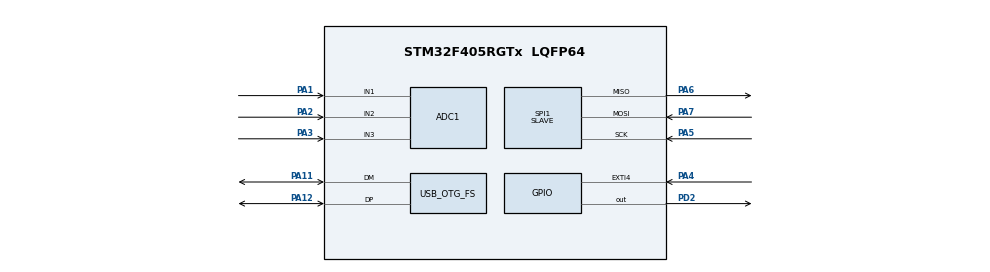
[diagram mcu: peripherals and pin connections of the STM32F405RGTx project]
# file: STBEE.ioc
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ADC1.Channel-0\#ChannelRegularConversion=ADC_CHANNEL_1
ADC1.Channel-1\#ChannelRegularConversion=ADC_CHANNEL_2
ADC1.Channel-2\#ChannelRegularConversion=ADC_CHANNEL_3
ADC1.ContinuousConvMode=ENABLE
ADC1.DMAContinuousRequests=ENABLE
ADC1.NbrOfConversion=3
ADC1.NbrOfConversionFlag=1
ADC1.Rank-0\#ChannelRegularConversion=1
ADC1.Rank-1\#ChannelRegularConversion=2
ADC1.Rank-2\#ChannelRegularConversion=3
ADC1.SamplingTime-0\#ChannelRegularConversion=ADC_SAMPLETIME_15CYCLES
ADC1.SamplingTime-1\#ChannelRegularConversion=ADC_SAMPLETIME_15CYCLES
ADC1.SamplingTime-2\#ChannelRegularConversion=ADC_SAMPLETIME_15CYCLES
ADC1.master=1
Dma.ADC1.1.Direction=DMA_PERIPH_TO_MEMORY
Dma.ADC1.1.FIFOMode=DMA_FIFOMODE_DISABLE
Dma.ADC1.1.Instance=DMA2_Stream4
Dma.ADC1.1.MemDataAlignment=DMA_MDATAALIGN_HALFWORD
Dma.ADC1.1.MemInc=DMA_MINC_ENABLE
Dma.ADC1.1.Mode=DMA_CIRCULAR
Dma.ADC1.1.PeriphDataAlignment=DMA_PDATAALIGN_HALFWORD
Dma.ADC1.1.PeriphInc=DMA_PINC_DISABLE
Dma.ADC1.1.Priority=DMA_PRIORITY_LOW
Dma.Request0=SPI1_RX
Dma.Request1=ADC1
Dma.SPI1_RX.0.Direction=DMA_PERIPH_TO_MEMORY
Dma.SPI1_RX.0.FIFOMode=DMA_FIFOMODE_DISABLE
Dma.SPI1_RX.0.Instance=DMA2_Stream0
Dma.SPI1_RX.0.MemDataAlignment=DMA_MDATAALIGN_BYTE
Dma.SPI1_RX.0.MemInc=DMA_MINC_ENABLE
Dma.SPI1_RX.0.Mode=DMA_NORMAL
Dma.SPI1_RX.0.PeriphDataAlignment=DMA_PDATAALIGN_BYTE
Dma.SPI1_RX.0.PeriphInc=DMA_PINC_DISABLE
Dma.SPI1_RX.0.Priority=DMA_PRIORITY_LOW
FREERTOS.Tasks01=defaultTask,0,128,StartDefaultTask,Default,NULL,Dynamic,NULL,NULL
Mcu.Family=STM32F4
Mcu.Name=STM32F405RGTx
Mcu.Package=LQFP64
NVIC.DMA2_Stream0_IRQn=true\:5\:0\:false\:false\:true\:true\:false\:true
NVIC.DMA2_Stream4_IRQn=true\:5\:0\:false\:false\:true\:true\:false\:true
NVIC.EXTI4_IRQn=true\:0\:0\:false\:false\:true\:false\:true\:true
NVIC.OTG_FS_IRQn=true\:5\:0\:false\:false\:true\:true\:false\:true
NVIC.PriorityGroup=NVIC_PRIORITYGROUP_4
NVIC.TIM8_UP_TIM13_IRQn=true\:0\:0\:false\:false\:true\:false\:false\:true
NVIC.TimeBase=TIM8_UP_TIM13_IRQn
NVIC.TimeBaseIP=TIM13
PA1.Signal=ADCx_IN1
PA11.Mode=Device_Only
PA11.Signal=USB_OTG_FS_DM
PA12.Mode=Device_Only
PA12.Signal=USB_OTG_FS_DP
PA2.Signal=ADCx_IN2
PA3.Signal=ADCx_IN3
PA4.Signal=GPXTI4
PA5.Mode=Full_Duplex_Slave
PA5.Signal=SPI1_SCK
PA6.Mode=Full_Duplex_Slave
PA6.Signal=SPI1_MISO
PA7.Mode=Full_Duplex_Slave
PA7.Signal=SPI1_MOSI
PD2.Signal=GPIO_Output
PH0-OSC_IN.Mode=HSE-External-Oscillator
PH0-OSC_IN.Signal=RCC_OSC_IN
PH1-OSC_OUT.Mode=HSE-External-Oscillator
PH1-OSC_OUT.Signal=RCC_OSC_OUT
ProjectManager.HeapSize=0x4000
ProjectManager.StackSize=0x4000
ProjectManager.TargetToolchain=STM32CubeIDE
RCC.48MHZClocksFreq_Value=48000000
RCC.AHBFreq_Value=168000000
RCC.APB1CLKDivider=RCC_HCLK_DIV4
RCC.APB1Freq_Value=42000000
RCC.APB1TimFreq_Value=84000000
RCC.APB2CLKDivider=RCC_HCLK_DIV2
RCC.APB2Freq_Value=84000000
RCC.APB2TimFreq_Value=168000000
RCC.CortexFreq_Value=168000000
RCC.HCLKFreq_Value=168000000
RCC.HSE_VALUE=12000000
RCC.HSI_VALUE=16000000
RCC.LSE_VALUE=32768
RCC.PLLM=6
RCC.PLLN=168
RCC.PLLQ=7
RCC.SYSCLKFreq_VALUE=168000000
RCC.SYSCLKSource=RCC_SYSCLKSOURCE_PLLCLK
RCC.VCOOutputFreq_Value=336000000
SH.ADCx_IN1.0=ADC1_IN1,IN1
SH.ADCx_IN2.0=ADC1_IN2,IN2
SH.ADCx_IN3.0=ADC1_IN3,IN3
SPI1.Direction=SPI_DIRECTION_2LINES
SPI1.Mode=SPI_MODE_SLAVE
SPI1.VirtualType=VM_SLAVE
USB_DEVICE.CLASS_NAME_FS=CDC
USB_DEVICE.MANUFACTURER_STRING-CDC_FS=motionlib
USB_DEVICE.PRODUCT_STRING_CDC_FS=STM32 Hall Sensor Encoder
USB_DEVICE.VirtualMode-CDC_FS=Cdc
USB_DEVICE.VirtualModeFS=Cdc_FS
USB_OTG_FS.VirtualMode=Device_Only
VP_FREERTOS_VS_CMSIS_V1.Mode=CMSIS_V1
VP_SYS_VS_tim13.Mode=TIM13
VP_USB_DEVICE_VS_USB_DEVICE_CDC_FS.Mode=CDC_FS
board=custom

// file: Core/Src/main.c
/* USER CODE BEGIN Header */
/**
 ******************************************************************************
 * @file           : main.c
 * @brief          : Main program body
 ******************************************************************************
 * @attention
 *
 * <h2><center>&copy; Copyright (c) 2020 STMicroelectronics.
 * All rights reserved.</center></h2>
 *
 * This software component is licensed by ST under BSD 3-Clause license,
 * the "License"; You may not use this file except in compliance with the
 * License. You may obtain a copy of the License at:
 *                        opensource.org/licenses/BSD-3-Clause
 *
 ******************************************************************************
 */
/* USER CODE END Header */

#include "main.h"
#include "cmsis_os.h"
#include "usb_device.h"

/* USER CODE BEGIN Includes */
#include "usbd_cdc_if.h"
/* USER CODE END Includes */

osThreadId defaultTaskHandle;
/* USER CODE BEGIN PV */
void adc_handler(void) {
	if (LL_DMA_IsActiveFlag_TC4(DMA2)) {
		LL_DMA_ClearFlag_TC4(DMA2);
		LL_ADC_ClearFlag_EOCS(ADC1);
	}
}
/* USER CODE END PV */

void SystemClock_Config(void);
static void MX_GPIO_Init(void);
static void MX_DMA_Init(void);
static void MX_ADC1_Init(void);
static void MX_SPI1_Init(void);
void StartDefaultTask(void const *argument);

int main(void) {

	/* MCU Configuration--------------------------------------------------------*/

	/* Reset of all peripherals, Initializes the Flash interface and the Systick. */
	HAL_Init();

	/* Configure the system clock */
	SystemClock_Config();

	/* Initialize all configured peripherals */
	MX_GPIO_Init();
	MX_DMA_Init();
	MX_ADC1_Init();
	MX_SPI1_Init();

	/* Create the thread(s) */
	/* definition and creation of defaultTask */
	osThreadDef(defaultTask, StartDefaultTask, osPriorityNormal, 0, 128);
	defaultTaskHandle = osThreadCreate(osThread(defaultTask), NULL);

	/* Start scheduler */
	osKernelStart();

	/* We should never get here as control is now taken by the scheduler */

	/* Infinite loop */
	while (1) {

	}
}

void SystemClock_Config(void) {
	LL_FLASH_SetLatency(LL_FLASH_LATENCY_5);

	if (LL_FLASH_GetLatency() != LL_FLASH_LATENCY_5) {
		Error_Handler();
	}
	LL_PWR_SetRegulVoltageScaling(LL_PWR_REGU_VOLTAGE_SCALE1);
	LL_RCC_HSE_Enable();

	/* Wait till HSE is ready */
	while (LL_RCC_HSE_IsReady() != 1) {

	}
	LL_RCC_PLL_ConfigDomain_SYS(LL_RCC_PLLSOURCE_HSE, LL_RCC_PLLM_DIV_6, 168,
	LL_RCC_PLLP_DIV_2);
	LL_RCC_PLL_ConfigDomain_48M(LL_RCC_PLLSOURCE_HSE, LL_RCC_PLLM_DIV_6, 168,
	LL_RCC_PLLQ_DIV_7);
	LL_RCC_PLL_Enable();

	/* Wait till PLL is ready */
	while (LL_RCC_PLL_IsReady() != 1) {

	}
	LL_RCC_SetAHBPrescaler(LL_RCC_SYSCLK_DIV_1);
	LL_RCC_SetAPB1Prescaler(LL_RCC_APB1_DIV_4);
	LL_RCC_SetAPB2Prescaler(LL_RCC_APB2_DIV_2);
	LL_RCC_SetSysClkSource(LL_RCC_SYS_CLKSOURCE_PLL);

	/* Wait till System clock is ready */
	while (LL_RCC_GetSysClkSource() != LL_RCC_SYS_CLKSOURCE_STATUS_PLL) {

	}
	LL_SetSystemCoreClock(168000000);

	/* Update the time base */
	if (HAL_InitTick(TICK_INT_PRIORITY) != HAL_OK) {
		Error_Handler();
	};
}

static void MX_ADC1_Init(void) {

	LL_ADC_InitTypeDef ADC_InitStruct = { 0 };
	LL_ADC_REG_InitTypeDef ADC_REG_InitStruct = { 0 };
	LL_ADC_CommonInitTypeDef ADC_CommonInitStruct = { 0 };

	LL_GPIO_InitTypeDef GPIO_InitStruct = { 0 };

	/* Peripheral clock enable */
	LL_APB2_GRP1_EnableClock(LL_APB2_GRP1_PERIPH_ADC1);

	LL_AHB1_GRP1_EnableClock(LL_AHB1_GRP1_PERIPH_GPIOA);
	/**ADC1 GPIO Configuration
	 PA1   ------> ADC1_IN1
	 PA2   ------> ADC1_IN2
	 PA3   ------> ADC1_IN3
	 */
	GPIO_InitStruct.Pin = LL_GPIO_PIN_1 | LL_GPIO_PIN_2 | LL_GPIO_PIN_3;
	GPIO_InitStruct.Mode = LL_GPIO_MODE_ANALOG;
	GPIO_InitStruct.Pull = LL_GPIO_PULL_NO;
	LL_GPIO_Init(GPIOA, &GPIO_InitStruct);

	/* ADC1 DMA Init */

	/* ADC1 Init */
	LL_DMA_SetChannelSelection(DMA2, LL_DMA_STREAM_4, LL_DMA_CHANNEL_0);

	LL_DMA_SetDataTransferDirection(DMA2, LL_DMA_STREAM_4,
	LL_DMA_DIRECTION_PERIPH_TO_MEMORY);

	LL_DMA_SetStreamPriorityLevel(DMA2, LL_DMA_STREAM_4, LL_DMA_PRIORITY_LOW);

	LL_DMA_SetMode(DMA2, LL_DMA_STREAM_4, LL_DMA_MODE_CIRCULAR);

	LL_DMA_SetPeriphIncMode(DMA2, LL_DMA_STREAM_4, LL_DMA_PERIPH_NOINCREMENT);

	LL_DMA_SetMemoryIncMode(DMA2, LL_DMA_STREAM_4, LL_DMA_MEMORY_INCREMENT);

	LL_DMA_SetPeriphSize(DMA2, LL_DMA_STREAM_4, LL_DMA_PDATAALIGN_HALFWORD);

	LL_DMA_SetMemorySize(DMA2, LL_DMA_STREAM_4, LL_DMA_MDATAALIGN_HALFWORD);

	LL_DMA_DisableFifoMode(DMA2, LL_DMA_STREAM_4);

	/** Common config
	 */
	ADC_InitStruct.Resolution = LL_ADC_RESOLUTION_12B;
	ADC_InitStruct.DataAlignment = LL_ADC_DATA_ALIGN_RIGHT;
	ADC_InitStruct.SequencersScanMode = LL_ADC_SEQ_SCAN_ENABLE;
	LL_ADC_Init(ADC1, &ADC_InitStruct);
	ADC_REG_InitStruct.TriggerSource = LL_ADC_REG_TRIG_SOFTWARE;
	ADC_REG_InitStruct.SequencerLength = LL_ADC_REG_SEQ_SCAN_ENABLE_3RANKS;
	ADC_REG_InitStruct.SequencerDiscont = LL_ADC_REG_SEQ_DISCONT_DISABLE;
	ADC_REG_InitStruct.ContinuousMode = LL_ADC_REG_CONV_CONTINUOUS;
	ADC_REG_InitStruct.DMATransfer = LL_ADC_REG_DMA_TRANSFER_UNLIMITED;
	LL_ADC_REG_Init(ADC1, &ADC_REG_InitStruct);
	LL_ADC_REG_SetFlagEndOfConversion(ADC1, LL_ADC_REG_FLAG_EOC_UNITARY_CONV);
	LL_ADC_DisableIT_EOCS(ADC1);
	ADC_CommonInitStruct.CommonClock = LL_ADC_CLOCK_SYNC_PCLK_DIV4;
	ADC_CommonInitStruct.Multimode = LL_ADC_MULTI_INDEPENDENT;
	LL_ADC_CommonInit(__LL_ADC_COMMON_INSTANCE(ADC1), &ADC_CommonInitStruct);
	/** Configure Regular Channel
	 */
	LL_ADC_REG_SetSequencerRanks(ADC1, LL_ADC_REG_RANK_1, LL_ADC_CHANNEL_1);
	LL_ADC_SetChannelSamplingTime(ADC1, LL_ADC_CHANNEL_1,
	LL_ADC_SAMPLINGTIME_15CYCLES);
	/** Configure Regular Channel
	 */
	LL_ADC_REG_SetSequencerRanks(ADC1, LL_ADC_REG_RANK_2, LL_ADC_CHANNEL_2);
	LL_ADC_SetChannelSamplingTime(ADC1, LL_ADC_CHANNEL_2,
	LL_ADC_SAMPLINGTIME_15CYCLES);
	/** Configure Regular Channel
	 */
	LL_ADC_REG_SetSequencerRanks(ADC1, LL_ADC_REG_RANK_3, LL_ADC_CHANNEL_3);
	LL_ADC_SetChannelSamplingTime(ADC1, LL_ADC_CHANNEL_3,
	LL_ADC_SAMPLINGTIME_15CYCLES);

}

static void MX_SPI1_Init(void) {

	LL_SPI_InitTypeDef SPI_InitStruct = { 0 };

	LL_GPIO_InitTypeDef GPIO_InitStruct = { 0 };

	/* Peripheral clock enable */
	LL_APB2_GRP1_EnableClock(LL_APB2_GRP1_PERIPH_SPI1);

	LL_AHB1_GRP1_EnableClock(LL_AHB1_GRP1_PERIPH_GPIOA);
	/**SPI1 GPIO Configuration
	 PA5   ------> SPI1_SCK
	 PA6   ------> SPI1_MISO
	 PA7   ------> SPI1_MOSI
	 */
	GPIO_InitStruct.Pin = LL_GPIO_PIN_5 | LL_GPIO_PIN_6 | LL_GPIO_PIN_7;
	GPIO_InitStruct.Mode = LL_GPIO_MODE_ALTERNATE;
	GPIO_InitStruct.Speed = LL_GPIO_SPEED_FREQ_VERY_HIGH;
	GPIO_InitStruct.OutputType = LL_GPIO_OUTPUT_PUSHPULL;
	GPIO_InitStruct.Pull = LL_GPIO_PULL_NO;
	GPIO_InitStruct.Alternate = LL_GPIO_AF_5;
	LL_GPIO_Init(GPIOA, &GPIO_InitStruct);

	/* SPI1 DMA Init */

	/* SPI1_RX Init */
	LL_DMA_SetChannelSelection(DMA2, LL_DMA_STREAM_0, LL_DMA_CHANNEL_3);

	LL_DMA_SetDataTransferDirection(DMA2, LL_DMA_STREAM_0,
	LL_DMA_DIRECTION_PERIPH_TO_MEMORY);

	LL_DMA_SetStreamPriorityLevel(DMA2, LL_DMA_STREAM_0, LL_DMA_PRIORITY_LOW);

	LL_DMA_SetMode(DMA2, LL_DMA_STREAM_0, LL_DMA_MODE_NORMAL);

	LL_DMA_SetPeriphIncMode(DMA2, LL_DMA_STREAM_0, LL_DMA_PERIPH_NOINCREMENT);

	LL_DMA_SetMemoryIncMode(DMA2, LL_DMA_STREAM_0, LL_DMA_MEMORY_INCREMENT);

	LL_DMA_SetPeriphSize(DMA2, LL_DMA_STREAM_0, LL_DMA_PDATAALIGN_BYTE);

	LL_DMA_SetMemorySize(DMA2, LL_DMA_STREAM_0, LL_DMA_MDATAALIGN_BYTE);

	LL_DMA_DisableFifoMode(DMA2, LL_DMA_STREAM_0);

	/* SPI1 parameter configuration*/
	SPI_InitStruct.TransferDirection = LL_SPI_FULL_DUPLEX;
	SPI_InitStruct.Mode = LL_SPI_MODE_SLAVE;
	SPI_InitStruct.DataWidth = LL_SPI_DATAWIDTH_8BIT;
	SPI_InitStruct.ClockPolarity = LL_SPI_POLARITY_LOW;
	SPI_InitStruct.ClockPhase = LL_SPI_PHASE_1EDGE;
	SPI_InitStruct.NSS = LL_SPI_NSS_SOFT;
	SPI_InitStruct.BitOrder = LL_SPI_MSB_FIRST;
	SPI_InitStruct.CRCCalculation = LL_SPI_CRCCALCULATION_DISABLE;
	SPI_InitStruct.CRCPoly = 10;
	LL_SPI_Init(SPI1, &SPI_InitStruct);
	LL_SPI_SetStandard(SPI1, LL_SPI_PROTOCOL_MOTOROLA);

}

static void MX_DMA_Init(void) {

	/* Init with LL driver */
	/* DMA controller clock enable */
	LL_AHB1_GRP1_EnableClock(LL_AHB1_GRP1_PERIPH_DMA2);

	/* DMA interrupt init */
	/* DMA2_Stream0_IRQn interrupt configuration */
	NVIC_SetPriority(DMA2_Stream0_IRQn,
			NVIC_EncodePriority(NVIC_GetPriorityGrouping(), 5, 0));
	NVIC_EnableIRQ(DMA2_Stream0_IRQn);
	/* DMA2_Stream4_IRQn interrupt configuration */
	NVIC_SetPriority(DMA2_Stream4_IRQn,
			NVIC_EncodePriority(NVIC_GetPriorityGrouping(), 5, 0));
	NVIC_EnableIRQ(DMA2_Stream4_IRQn);

}

static void MX_GPIO_Init(void) {
	LL_EXTI_InitTypeDef EXTI_InitStruct = { 0 };
	LL_GPIO_InitTypeDef GPIO_InitStruct = { 0 };

	/* GPIO Ports Clock Enable */
	LL_AHB1_GRP1_EnableClock(LL_AHB1_GRP1_PERIPH_GPIOH);
	LL_AHB1_GRP1_EnableClock(LL_AHB1_GRP1_PERIPH_GPIOA);
	LL_AHB1_GRP1_EnableClock(LL_AHB1_GRP1_PERIPH_GPIOD);

	/**/
	LL_GPIO_ResetOutputPin(GPIOD, LL_GPIO_PIN_2);

	/**/
	LL_SYSCFG_SetEXTISource(LL_SYSCFG_EXTI_PORTA, LL_SYSCFG_EXTI_LINE4);

	/**/
	EXTI_InitStruct.Line_0_31 = LL_EXTI_LINE_4;
	EXTI_InitStruct.LineCommand = ENABLE;
	EXTI_InitStruct.Mode = LL_EXTI_MODE_IT;
	EXTI_InitStruct.Trigger = LL_EXTI_TRIGGER_RISING;
	LL_EXTI_Init(&EXTI_InitStruct);

	/**/
	LL_GPIO_SetPinPull(GPIOA, LL_GPIO_PIN_4, LL_GPIO_PULL_NO);

	/**/
	LL_GPIO_SetPinMode(GPIOA, LL_GPIO_PIN_4, LL_GPIO_MODE_INPUT);

	/**/
	GPIO_InitStruct.Pin = LL_GPIO_PIN_2;
	GPIO_InitStruct.Mode = LL_GPIO_MODE_OUTPUT;
	GPIO_InitStruct.Speed = LL_GPIO_SPEED_FREQ_LOW;
	GPIO_InitStruct.OutputType = LL_GPIO_OUTPUT_PUSHPULL;
	GPIO_InitStruct.Pull = LL_GPIO_PULL_NO;
	LL_GPIO_Init(GPIOD, &GPIO_InitStruct);

	/* EXTI interrupt init*/
	NVIC_SetPriority(EXTI4_IRQn,
			NVIC_EncodePriority(NVIC_GetPriorityGrouping(), 0, 0));
	NVIC_EnableIRQ(EXTI4_IRQn);

}

void StartDefaultTask(void const *argument) {
	/* init code for USB_DEVICE */
	MX_USB_DEVICE_Init();
	/* USER CODE BEGIN 5 */
	char buf[32] = { 0 };
	uint16_t data[3] = { 0 };
	LL_DMA_DisableStream(DMA2, LL_DMA_STREAM_4);
	LL_DMA_ConfigAddresses(DMA2, LL_DMA_STREAM_4,
			LL_ADC_DMA_GetRegAddr(ADC1, LL_ADC_DMA_REG_REGULAR_DATA),
			(uint32_t) data, LL_DMA_DIRECTION_PERIPH_TO_MEMORY);
	LL_DMA_SetDataLength(DMA2, LL_DMA_STREAM_4, sizeof(data) / sizeof(data[0]));
	LL_DMA_EnableStream(DMA2, LL_DMA_STREAM_4);
	LL_ADC_REG_StartConversionSWStart(ADC1);
	LL_DMA_EnableIT_TC(DMA2, LL_DMA_STREAM_4);
	LL_ADC_Enable(ADC1);
	LL_ADC_REG_StartConversionSWStart(ADC1);
	/* Infinite loop */
	for (;;) {
		osDelay(100);
		LL_GPIO_TogglePin(GPIOD, LL_GPIO_PIN_2);
		uint16_t d[3] = { 0 };
		NVIC_DisableIRQ(DMA2_Stream4_IRQn);
		memcpy(d, data, sizeof(d));
		NVIC_EnableIRQ(DMA2_Stream4_IRQn);
		int n = snprintf(buf, sizeof(buf), "%4X %4X %4X\r\n", d[0], d[1], d[2]);
		CDC_Transmit_FS((uint8_t*) buf, n);
	}
	/* USER CODE END 5 */
}

void HAL_TIM_PeriodElapsedCallback(TIM_HandleTypeDef *htim) {
	if (htim->Instance == TIM13) {
		HAL_IncTick();
	}
}

void Error_Handler(void) {
}

/************************ (C) COPYRIGHT STMicroelectronics *****END OF FILE****/
